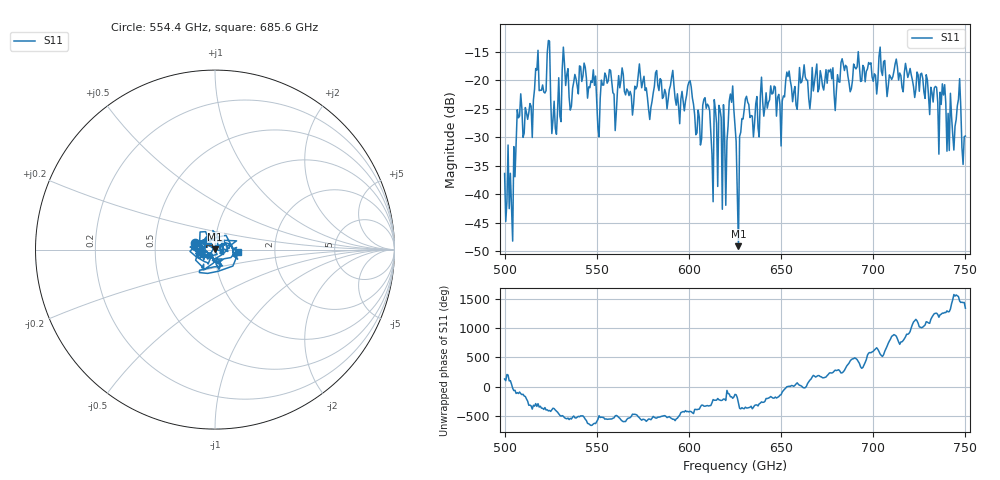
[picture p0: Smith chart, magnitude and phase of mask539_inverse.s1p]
!Created with skrf (http://scikit-rf.org).
# GHz S MA R 50.0
!freq magS11 angS11
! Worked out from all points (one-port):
!   401 points, 500 GHz to 750 GHz, reference 50 ohm
!   lowest |S11| = -49.1 dB at 626.9 GHz (marker M1), VSWR 1.01, Z = 50.1 + j0.346 ohm
!   |S11| at or under -10 dB: start of sweep to end of sweep
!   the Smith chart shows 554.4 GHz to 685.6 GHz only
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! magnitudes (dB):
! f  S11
! 500 GHz  -36.3
! 503.8 GHz  -42.4
! 508.1 GHz  -26.2
! 513.8 GHz  -24.1
! 516.9 GHz  -17.9
! 523.8 GHz  -13.0
! 526.9 GHz  -23.7
! 531.2 GHz  -18.1
! 542.5 GHz  -19.2
! 551.2 GHz  -29.9
! 562.5 GHz  -21.3
! 593.8 GHz  -22.4
! 600.6 GHz  -20.0
! 605.6 GHz  -26.5
! 609.4 GHz  -24.9
! 611.9 GHz  -29.2
! 619.4 GHz  -29.8
! 623.1 GHz  -23.9
! 625 GHz  -27.8
! 626.9 GHz  -49.1
! 631.2 GHz  -22.8
! 656.2 GHz  -23.7
! 687.5 GHz  -22.0
! 718.8 GHz  -19.5
! 737.5 GHz  -20.6
! 742.5 GHz  -26.4
! 746.2 GHz  -23.3
! 750 GHz  -29.8
